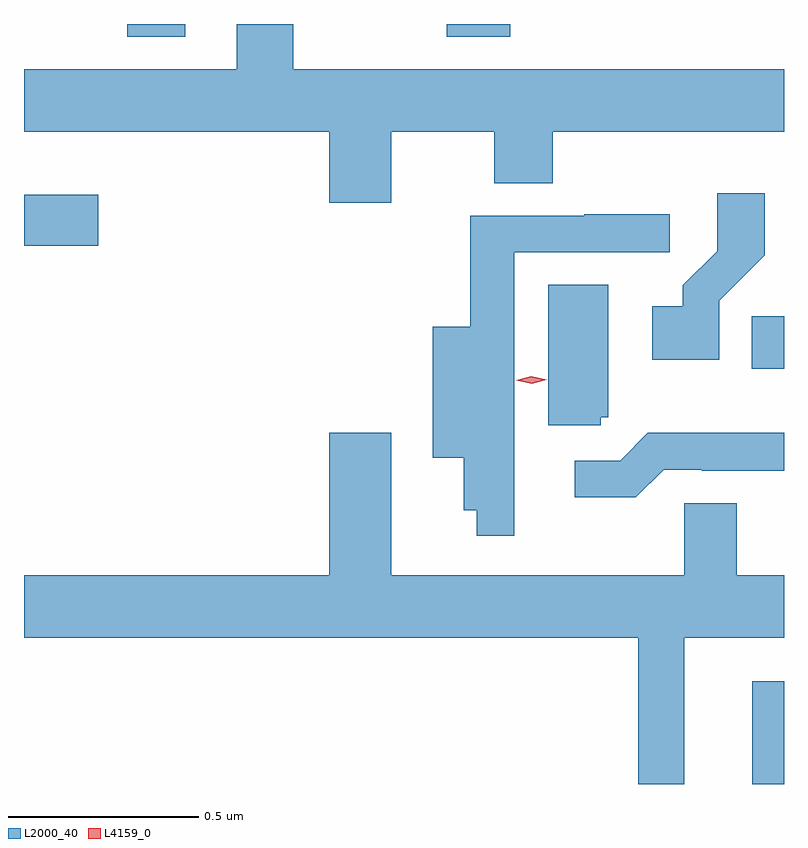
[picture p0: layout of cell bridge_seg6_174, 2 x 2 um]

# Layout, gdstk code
import gdstk
lib = gdstk.Library(unit=1e-6, precision=1e-09)
def R(c, l, rs):  # rectangles x0, y0, x1, y1
    for r in rs: c.add(gdstk.rectangle(r[:2], r[2:], *l))
def P(c, l, *ps):  # polygons
    for p in ps: c.add(gdstk.Polygon(p, *l))
L2000_40 = (2000, 40)
L4159_0 = (4159, 0)

bridge_seg6_174 = lib.new_cell('bridge_seg6_174')
R(bridge_seg6_174, L2000_40, [(238.049,942.955,238.133,943.225), (238.048,944.048,238.133,944.186), (236.133,944.372,236.329,944.506), (236.405,944.922,236.557,944.955), (237.245,944.922,237.412,944.955)])
P(bridge_seg6_174, L2000_40, [(237.1,944.672),(237.371,944.672),(237.371,944.536),(237.524,944.536),(237.524,944.672),(238.133,944.672),(238.133,944.836),(236.841,944.836),(236.841,944.955),(236.693,944.955),(236.693,944.836),(236.133,944.836),(236.133,944.672),(236.936,944.672),(236.936,944.484),(237.1,944.484)],
  [(237.963,944.227),(238.082,944.346),(238.082,944.509),(237.957,944.509),(237.957,944.357),(237.866,944.267),(237.866,944.212),(237.786,944.212),(237.786,944.072),(237.963,944.072)],
  [(237.423,944.355),(237.832,944.355),(237.832,944.454),(237.607,944.454),(237.607,944.451),(237.307,944.451),(237.307,944.158),(237.209,944.158),(237.209,943.814),(237.29,943.814),(237.29,943.676),(237.325,943.676),(237.325,943.608),(237.423,943.608)],
  [(237.651,943.92),(237.67,943.92),(237.67,944.269),(237.512,944.269),(237.512,943.899),(237.651,943.899)],
  [(237.871,943.34),(238.133,943.34),(238.133,943.504),(238.009,943.504),(238.009,943.694),(237.87,943.694),(237.87,943.504),(237.1,943.504),(237.1,943.879),(236.936,943.879),(236.936,943.504),(236.133,943.504),(236.133,943.34),(237.75,943.34),(237.75,942.955),(237.871,942.955)],
  [(237.816,943.782),(237.916,943.782),(237.916,943.779),(238.133,943.779),(238.133,943.879),(237.775,943.879),(237.702,943.806),(237.582,943.806),(237.582,943.709),(237.743,943.709)])
P(bridge_seg6_174, L4159_0, [(237.469,944.008),(237.429,944.017),(237.428,944.018),(237.429,944.018),(237.468,944.028),(237.508,944.019),(237.509,944.019),(237.508,944.019)])

lib.write_gds('bridge_seg6_174.gds')
